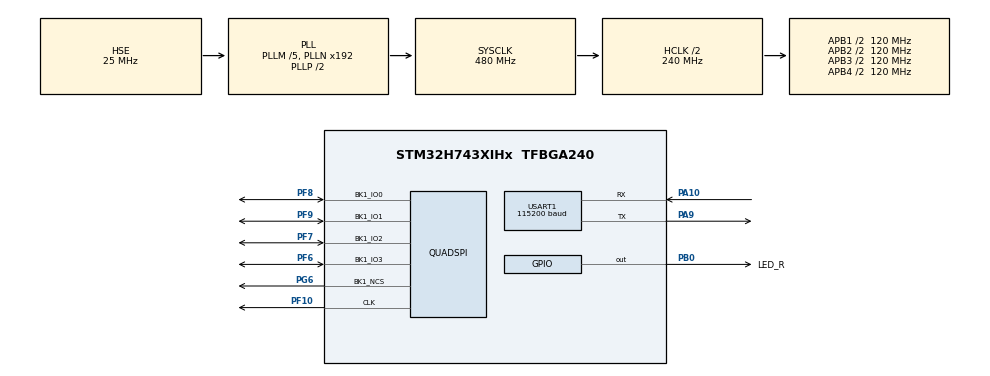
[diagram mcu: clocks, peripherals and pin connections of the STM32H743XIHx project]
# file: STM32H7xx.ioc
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CORTEX_M7.AccessPermission_S-Cortex_Memory_Protection_Unit_Region1_Settings_S=MPU_REGION_FULL_ACCESS
CORTEX_M7.AccessPermission_S-Cortex_Memory_Protection_Unit_Region2_Settings_S=MPU_REGION_FULL_ACCESS
CORTEX_M7.AccessPermission_S-Cortex_Memory_Protection_Unit_Region3_Settings_S=MPU_REGION_FULL_ACCESS
CORTEX_M7.AccessPermission_S-Cortex_Memory_Protection_Unit_Region4_Settings_S=MPU_REGION_FULL_ACCESS
CORTEX_M7.AccessPermission_S-Cortex_Memory_Protection_Unit_Region5_Settings_S=MPU_REGION_FULL_ACCESS
CORTEX_M7.AccessPermission_Spec=MPU_REGION_FULL_ACCESS
CORTEX_M7.BaseAddress_S-Cortex_Memory_Protection_Unit_Region1_Settings_S=0x24000000
CORTEX_M7.BaseAddress_S-Cortex_Memory_Protection_Unit_Region2_Settings_S=0x30000000
CORTEX_M7.BaseAddress_S-Cortex_Memory_Protection_Unit_Region3_Settings_S=0x38000000
CORTEX_M7.BaseAddress_S-Cortex_Memory_Protection_Unit_Region4_Settings_S=0x80000000
CORTEX_M7.BaseAddress_S-Cortex_Memory_Protection_Unit_Region5_Settings_S=0xC0000000
CORTEX_M7.BaseAddress_Spec=0x20000000
CORTEX_M7.CPU_DCache=Enabled
CORTEX_M7.CPU_ICache=Enabled
CORTEX_M7.DisableExec_S-Cortex_Memory_Protection_Unit_Region4_Settings_S=MPU_INSTRUCTION_ACCESS_DISABLE
CORTEX_M7.DisableExec_Spec=MPU_INSTRUCTION_ACCESS_ENABLE
CORTEX_M7.Enable_S-Cortex_Memory_Protection_Unit_Region1_Settings_S=MPU_REGION_ENABLE
CORTEX_M7.Enable_S-Cortex_Memory_Protection_Unit_Region2_Settings_S=MPU_REGION_ENABLE
CORTEX_M7.Enable_S-Cortex_Memory_Protection_Unit_Region3_Settings_S=MPU_REGION_ENABLE
CORTEX_M7.Enable_S-Cortex_Memory_Protection_Unit_Region4_Settings_S=MPU_REGION_ENABLE
CORTEX_M7.Enable_S-Cortex_Memory_Protection_Unit_Region5_Settings_S=MPU_REGION_ENABLE
CORTEX_M7.IsBufferable_S-Cortex_Memory_Protection_Unit_Region1_Settings_S=MPU_ACCESS_BUFFERABLE
CORTEX_M7.IsBufferable_S-Cortex_Memory_Protection_Unit_Region2_Settings_S=MPU_ACCESS_BUFFERABLE
CORTEX_M7.IsBufferable_S-Cortex_Memory_Protection_Unit_Region3_Settings_S=MPU_ACCESS_BUFFERABLE
CORTEX_M7.IsBufferable_S-Cortex_Memory_Protection_Unit_Region4_Settings_S=MPU_ACCESS_NOT_BUFFERABLE
CORTEX_M7.IsBufferable_S-Cortex_Memory_Protection_Unit_Region5_Settings_S=MPU_ACCESS_BUFFERABLE
CORTEX_M7.IsBufferable_Spec=MPU_ACCESS_BUFFERABLE
CORTEX_M7.IsCacheable_S-Cortex_Memory_Protection_Unit_Region1_Settings_S=MPU_ACCESS_CACHEABLE
CORTEX_M7.IsCacheable_S-Cortex_Memory_Protection_Unit_Region2_Settings_S=MPU_ACCESS_CACHEABLE
CORTEX_M7.IsCacheable_S-Cortex_Memory_Protection_Unit_Region3_Settings_S=MPU_ACCESS_CACHEABLE
CORTEX_M7.IsCacheable_S-Cortex_Memory_Protection_Unit_Region4_Settings_S=MPU_ACCESS_NOT_CACHEABLE
CORTEX_M7.IsCacheable_S-Cortex_Memory_Protection_Unit_Region5_Settings_S=MPU_ACCESS_CACHEABLE
CORTEX_M7.IsCacheable_Spec=MPU_ACCESS_CACHEABLE
CORTEX_M7.IsShareable_Spec=MPU_ACCESS_NOT_SHAREABLE
CORTEX_M7.Size_S-Cortex_Memory_Protection_Unit_Region1_Settings_S=MPU_REGION_SIZE_512KB
CORTEX_M7.Size_S-Cortex_Memory_Protection_Unit_Region2_Settings_S=MPU_REGION_SIZE_512KB
CORTEX_M7.Size_S-Cortex_Memory_Protection_Unit_Region3_Settings_S=MPU_REGION_SIZE_64KB
CORTEX_M7.Size_S-Cortex_Memory_Protection_Unit_Region4_Settings_S=MPU_REGION_SIZE_256MB
CORTEX_M7.Size_S-Cortex_Memory_Protection_Unit_Region5_Settings_S=MPU_REGION_SIZE_64MB
CORTEX_M7.Size_Spec=MPU_REGION_SIZE_128KB
CORTEX_M7.SubRegionDisable_Spec=0x00
CORTEX_M7.default_mode_Activation=1
Mcu.Family=STM32H7
Mcu.Name=STM32H743XIHx
Mcu.Package=TFBGA240
NVIC.PriorityGroup=NVIC_PRIORITYGROUP_2
PA10.Mode=Asynchronous
PA10.Signal=USART1_RX
PA13\ (JTMS/SWDIO).Mode=Serial_Wire
PA13\ (JTMS/SWDIO).Signal=DEBUG_JTMS-SWDIO
PA14\ (JTCK/SWCLK).Mode=Serial_Wire
PA14\ (JTCK/SWCLK).Signal=DEBUG_JTCK-SWCLK
PA9.Mode=Asynchronous
PA9.Signal=USART1_TX
PB0.GPIO_Label=LED_R
PB0.GPIO_PuPd=GPIO_PULLUP
PB0.GPIO_Speed=GPIO_SPEED_FREQ_HIGH
PB0.PinState=GPIO_PIN_SET
PB0.Signal=GPIO_Output
PF10.GPIO_Speed=GPIO_SPEED_FREQ_VERY_HIGH
PF10.Mode=Single Bank 1
PF10.Signal=QUADSPI_CLK
PF6.GPIO_Speed=GPIO_SPEED_FREQ_VERY_HIGH
PF6.Mode=Single Bank 1
PF6.Signal=QUADSPI_BK1_IO3
PF7.GPIO_Speed=GPIO_SPEED_FREQ_VERY_HIGH
PF7.Mode=Single Bank 1
PF7.Signal=QUADSPI_BK1_IO2
PF8.GPIO_Speed=GPIO_SPEED_FREQ_VERY_HIGH
PF8.Mode=Single Bank 1
PF8.Signal=QUADSPI_BK1_IO0
PF9.GPIO_Speed=GPIO_SPEED_FREQ_VERY_HIGH
PF9.Mode=Single Bank 1
PF9.Signal=QUADSPI_BK1_IO1
PG6.GPIO_Speed=GPIO_SPEED_FREQ_VERY_HIGH
PG6.Mode=Single Bank 1
PG6.Signal=QUADSPI_BK1_NCS
PH0-OSC_IN\ (PH0).Mode=HSE-External-Oscillator
PH0-OSC_IN\ (PH0).Signal=RCC_OSC_IN
PH1-OSC_OUT\ (PH1).Mode=HSE-External-Oscillator
PH1-OSC_OUT\ (PH1).Signal=RCC_OSC_OUT
ProjectManager.HeapSize=0x200
ProjectManager.StackSize=0x400
ProjectManager.TargetToolchain=MDK-ARM V5.32
QUADSPI.ChipSelectHighTime=QSPI_CS_HIGH_TIME_4_CYCLE
QUADSPI.ClockPrescaler=1
QUADSPI.FifoThreshold=32
QUADSPI.FlashSize=24
QUADSPI.SampleShifting=QSPI_SAMPLE_SHIFTING_HALFCYCLE
RCC.ADCFreq_Value=480000000
RCC.APB1Freq_Value=120000000
RCC.APB2Freq_Value=120000000
RCC.APB3Freq_Value=120000000
RCC.APB4Freq_Value=120000000
RCC.CortexFreq_Value=480000000
RCC.D1PPRE=RCC_APB3_DIV2
RCC.D2PPRE1=RCC_APB1_DIV2
RCC.D2PPRE2=RCC_APB2_DIV2
RCC.D3PPRE=RCC_APB4_DIV2
RCC.DIVM1=5
RCC.DIVM2=5
RCC.DIVM3=1
RCC.DIVN1=192
RCC.DIVN2=192
RCC.DIVN3=6
RCC.DIVQ1=8
RCC.DIVR2=4
RCC.DIVR3=5
RCC.FLatency=FLASH_LATENCY_4
RCC.HCLKFreq_Value=240000000
RCC.HPRE=RCC_HCLK_DIV2
RCC.HSICalibrationValue=64
RCC.LockedElements=D1CPREOutput
RCC.PLLSourceVirtual=RCC_PLLSOURCE_HSE
RCC.PWR_Regulator_Voltage_Scale=PWR_REGULATOR_VOLTAGE_SCALE0
RCC.ProductRev=revV
RCC.QSPICLockSelection=RCC_QSPICLKSOURCE_PLL2
RCC.SYSCLKFreq_VALUE=480000000
RCC.SYSCLKSource=RCC_SYSCLKSOURCE_PLLCLK
RCC.Tim1Mul=2
RCC.Tim2Mul=2
RCC.USBFreq_Value=120000000
USART1.BaudRate=115200
USART1.VirtualMode-Asynchronous=VM_ASYNC
board=custom

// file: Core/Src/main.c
/* USER CODE BEGIN Header */
/**
  ******************************************************************************
  * @file           : main.c
  * @brief          : Main program body
  ******************************************************************************
  * @attention
  *
  * Copyright (c) 2023 STMicroelectronics.
  * All rights reserved.
  *
  * This software is licensed under terms that can be found in the LICENSE file
  * in the root directory of this software component.
  * If no LICENSE file comes with this software, it is provided AS-IS.
  *
  ******************************************************************************
  */
/* USER CODE END Header */
#include "main.h"
#include "quadspi.h"
#include "usart.h"
#include "gpio.h"

/* USER CODE BEGIN Includes */

#include "stdio.h"
#include "string.h"
#include "qspi.h"
#include "w25qxx.h"

/* USER CODE END Includes */

void SystemClock_Config(void);
static void MPU_Config(void);

/* USER CODE BEGIN 0 */

/* 要写入到FLASH的字符串数组 */
const uint8_t g_text_buf[] = {"STM32H743/750X QSPI W25Q256 TEST "};

#define TEXT_SIZE   sizeof(g_text_buf) + 8  /* TEXT字符串长度 */

#define flashsize  32 * 1024 * 1024     /* FLASH 大小为32M字节 */

/*
*********************************************************************************************************
*	函 数 名: PrintfLogo
*	功能说明: 打印例程名称和例程发布日期, 接上串口线后，打开PC机的超级终端软件可以观察结果
*	形    参: 无
*	返 回 值: 无
*********************************************************************************************************
*/
static void Printf_Logo(void)
{
	printf("*************************************************************\r\n");

    uint32_t CPU_Sn0, CPU_Sn1, CPU_Sn2;

    CPU_Sn0 = *(__IO uint32_t*)(0x1FF1E800);
    CPU_Sn1 = *(__IO uint32_t*)(0x1FF1E800 + 4);
    CPU_Sn2 = *(__IO uint32_t*)(0x1FF1E800 + 8);

    printf("CPU : STM32H743XIH6, BGA240, 主频: %dMHz\r\n", SystemCoreClock / 1000000);
    printf("UID = %08X %08X %08X", CPU_Sn2, CPU_Sn1, CPU_Sn0);

	printf("*************************************************************\r\n");
	printf("* 例程名称 : QSPI读写Flash\r\n");	/* 打印例程名称 */
    printf("* 例程现象 : 在Flash写入和读取数据\r\n");	/* 打印例程名称 */
    printf("* 芯片型号 : W25Q256JV\r\n");	/* 打印例程名称 */

	printf("*************************************************************\r\n");
}

/* USER CODE END 0 */

int main(void)
{

  /* USER CODE BEGIN 1 */
    uint8_t writedata[TEXT_SIZE];

    uint8_t readdata[TEXT_SIZE];

    uint32_t addr = 0;

  /* USER CODE END 1 */

  /* MPU Configuration--------------------------------------------------------*/
  MPU_Config();

  /* Enable the CPU Cache */

  /* Enable I-Cache---------------------------------------------------------*/
  SCB_EnableICache();

  /* Enable D-Cache---------------------------------------------------------*/
  SCB_EnableDCache();

  /* MCU Configuration--------------------------------------------------------*/

  /* Reset of all peripherals, Initializes the Flash interface and the Systick. */
  HAL_Init();

  /* Configure the system clock */
  SystemClock_Config();

  /* Initialize all configured peripherals */
  MX_GPIO_Init();
  MX_USART1_UART_Init();
  MX_QUADSPI_Init();
  /* USER CODE BEGIN 2 */
    Printf_Logo();

    norflash_init();                        /* 初始化norflash */

    while (norflash_read_id() != W25Q256)   /* 检测不到FLASH芯片 */
    {
        printf("id=%4d\n",norflash_read_id());
        printf("Please Check!\r\n");
        HAL_Delay(500);
    }

  /* USER CODE END 2 */

  /* Infinite loop */
  /* USER CODE BEGIN WHILE */
  while (1)
  {
        sprintf((char *)writedata, "%s%d", (char *)g_text_buf,addr);

        norflash_write((uint8_t *)writedata, addr, TEXT_SIZE);      /* 从倒数第100个地址处开始,写入SIZE长度的数据 */

        HAL_Delay(500);

        norflash_read(readdata, addr, TEXT_SIZE);                   /* 从倒数第100个地址处开始,读出SIZE个字节 */

        printf("The Data Readed Is:%s\r\n",readdata);

        LED_R_TOGGLE();

        addr += TEXT_SIZE;

        if(addr >= flashsize)
            addr = 0;

    /* USER CODE END WHILE */

  }
}

void SystemClock_Config(void)
{
  RCC_OscInitTypeDef RCC_OscInitStruct = {0};
  RCC_ClkInitTypeDef RCC_ClkInitStruct = {0};

  /** Supply configuration update enable
  */
  HAL_PWREx_ConfigSupply(PWR_LDO_SUPPLY);

  /** Configure the main internal regulator output voltage
  */
  __HAL_PWR_VOLTAGESCALING_CONFIG(PWR_REGULATOR_VOLTAGE_SCALE1);

  while(!__HAL_PWR_GET_FLAG(PWR_FLAG_VOSRDY)) {}

  __HAL_RCC_SYSCFG_CLK_ENABLE();
  __HAL_PWR_VOLTAGESCALING_CONFIG(PWR_REGULATOR_VOLTAGE_SCALE0);

  while(!__HAL_PWR_GET_FLAG(PWR_FLAG_VOSRDY)) {}

  /** Initializes the RCC Oscillators according to the specified parameters
  * in the RCC_OscInitTypeDef structure.
  */
  RCC_OscInitStruct.OscillatorType = RCC_OSCILLATORTYPE_HSE;
  RCC_OscInitStruct.HSEState = RCC_HSE_ON;
  RCC_OscInitStruct.PLL.PLLState = RCC_PLL_ON;
  RCC_OscInitStruct.PLL.PLLSource = RCC_PLLSOURCE_HSE;
  RCC_OscInitStruct.PLL.PLLM = 5;
  RCC_OscInitStruct.PLL.PLLN = 192;
  RCC_OscInitStruct.PLL.PLLP = 2;
  RCC_OscInitStruct.PLL.PLLQ = 8;
  RCC_OscInitStruct.PLL.PLLR = 2;
  RCC_OscInitStruct.PLL.PLLRGE = RCC_PLL1VCIRANGE_2;
  RCC_OscInitStruct.PLL.PLLVCOSEL = RCC_PLL1VCOWIDE;
  RCC_OscInitStruct.PLL.PLLFRACN = 0;
  if (HAL_RCC_OscConfig(&RCC_OscInitStruct) != HAL_OK)
  {
    Error_Handler();
  }

  /** Initializes the CPU, AHB and APB buses clocks
  */
  RCC_ClkInitStruct.ClockType = RCC_CLOCKTYPE_HCLK|RCC_CLOCKTYPE_SYSCLK
                              |RCC_CLOCKTYPE_PCLK1|RCC_CLOCKTYPE_PCLK2
                              |RCC_CLOCKTYPE_D3PCLK1|RCC_CLOCKTYPE_D1PCLK1;
  RCC_ClkInitStruct.SYSCLKSource = RCC_SYSCLKSOURCE_PLLCLK;
  RCC_ClkInitStruct.SYSCLKDivider = RCC_SYSCLK_DIV1;
  RCC_ClkInitStruct.AHBCLKDivider = RCC_HCLK_DIV2;
  RCC_ClkInitStruct.APB3CLKDivider = RCC_APB3_DIV2;
  RCC_ClkInitStruct.APB1CLKDivider = RCC_APB1_DIV2;
  RCC_ClkInitStruct.APB2CLKDivider = RCC_APB2_DIV2;
  RCC_ClkInitStruct.APB4CLKDivider = RCC_APB4_DIV2;

  if (HAL_RCC_ClockConfig(&RCC_ClkInitStruct, FLASH_LATENCY_4) != HAL_OK)
  {
    Error_Handler();
  }
}

 /* MPU Configuration */

void MPU_Config(void)
{
  MPU_Region_InitTypeDef MPU_InitStruct = {0};

  /* Disables the MPU */
  HAL_MPU_Disable();

  /** Initializes and configures the Region and the memory to be protected
  */
  MPU_InitStruct.Enable = MPU_REGION_ENABLE;
  MPU_InitStruct.Number = MPU_REGION_NUMBER0;
  MPU_InitStruct.BaseAddress = 0x20000000;
  MPU_InitStruct.Size = MPU_REGION_SIZE_128KB;
  MPU_InitStruct.SubRegionDisable = 0x00;
  MPU_InitStruct.TypeExtField = MPU_TEX_LEVEL0;
  MPU_InitStruct.AccessPermission = MPU_REGION_FULL_ACCESS;
  MPU_InitStruct.DisableExec = MPU_INSTRUCTION_ACCESS_ENABLE;
  MPU_InitStruct.IsShareable = MPU_ACCESS_NOT_SHAREABLE;
  MPU_InitStruct.IsCacheable = MPU_ACCESS_CACHEABLE;
  MPU_InitStruct.IsBufferable = MPU_ACCESS_BUFFERABLE;

  HAL_MPU_ConfigRegion(&MPU_InitStruct);

  /** Initializes and configures the Region and the memory to be protected
  */
  MPU_InitStruct.Number = MPU_REGION_NUMBER1;
  MPU_InitStruct.BaseAddress = 0x24000000;
  MPU_InitStruct.Size = MPU_REGION_SIZE_512KB;
  MPU_InitStruct.SubRegionDisable = 0x0;

  HAL_MPU_ConfigRegion(&MPU_InitStruct);

  /** Initializes and configures the Region and the memory to be protected
  */
  MPU_InitStruct.Number = MPU_REGION_NUMBER2;
  MPU_InitStruct.BaseAddress = 0x30000000;

  HAL_MPU_ConfigRegion(&MPU_InitStruct);

  /** Initializes and configures the Region and the memory to be protected
  */
  MPU_InitStruct.Number = MPU_REGION_NUMBER3;
  MPU_InitStruct.BaseAddress = 0x38000000;
  MPU_InitStruct.Size = MPU_REGION_SIZE_64KB;

  HAL_MPU_ConfigRegion(&MPU_InitStruct);

  /** Initializes and configures the Region and the memory to be protected
  */
  MPU_InitStruct.Number = MPU_REGION_NUMBER4;
  MPU_InitStruct.BaseAddress = 0x80000000;
  MPU_InitStruct.Size = MPU_REGION_SIZE_256MB;
  MPU_InitStruct.DisableExec = MPU_INSTRUCTION_ACCESS_DISABLE;
  MPU_InitStruct.IsCacheable = MPU_ACCESS_NOT_CACHEABLE;
  MPU_InitStruct.IsBufferable = MPU_ACCESS_NOT_BUFFERABLE;

  HAL_MPU_ConfigRegion(&MPU_InitStruct);

  /** Initializes and configures the Region and the memory to be protected
  */
  MPU_InitStruct.Number = MPU_REGION_NUMBER5;
  MPU_InitStruct.BaseAddress = 0xC0000000;
  MPU_InitStruct.Size = MPU_REGION_SIZE_64MB;
  MPU_InitStruct.DisableExec = MPU_INSTRUCTION_ACCESS_ENABLE;
  MPU_InitStruct.IsCacheable = MPU_ACCESS_CACHEABLE;
  MPU_InitStruct.IsBufferable = MPU_ACCESS_BUFFERABLE;

  HAL_MPU_ConfigRegion(&MPU_InitStruct);
  /* Enables the MPU */
  HAL_MPU_Enable(MPU_PRIVILEGED_DEFAULT);

}

void Error_Handler(void)
{
  __disable_irq();
  while (1)
  {
  }
}
